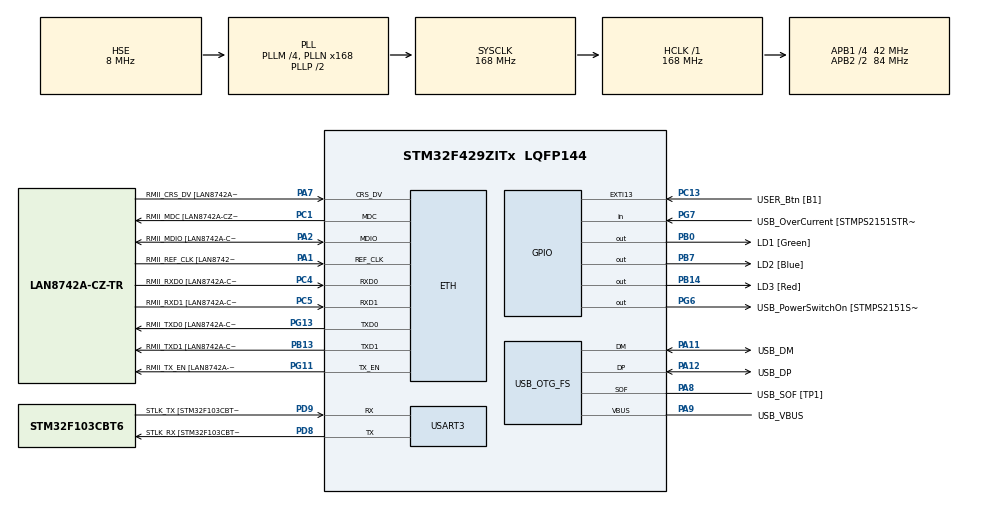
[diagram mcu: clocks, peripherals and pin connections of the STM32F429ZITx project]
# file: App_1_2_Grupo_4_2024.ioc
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ETH.MediaInterface=HAL_ETH_RMII_MODE
ETH.PHY_Name=LAN8742A_PHY_ADDRESS
ETH.PHY_Value=0
ETH.PhyAddress=0
Mcu.Family=STM32F4
Mcu.Name=STM32F429ZITx
Mcu.Package=LQFP144
NVIC.PriorityGroup=NVIC_PRIORITYGROUP_4
PA1.GPIO_Label=RMII_REF_CLK [LAN8742A-CZ-TR_REFCLK0]
PA1.Mode=RMII
PA1.Signal=ETH_REF_CLK
PA10.GPIO_Label=USB_ID
PA10.Signal=USB_OTG_FS_ID
PA11.GPIO_Label=USB_DM
PA11.Mode=Device_Only
PA11.Signal=USB_OTG_FS_DM
PA12.GPIO_Label=USB_DP
PA12.Mode=Device_Only
PA12.Signal=USB_OTG_FS_DP
PA13.GPIO_Label=TMS
PA13.Mode=Serial_Wire
PA13.Signal=SYS_JTMS-SWDIO
PA14.GPIO_Label=TCK
PA14.Mode=Serial_Wire
PA14.Signal=SYS_JTCK-SWCLK
PA2.GPIO_Label=RMII_MDIO [LAN8742A-CZ-TR_MDIO]
PA2.Mode=RMII
PA2.Signal=ETH_MDIO
PA7.GPIO_Label=RMII_CRS_DV [LAN8742A-CZ-TR_CRS_DV]
PA7.Mode=RMII
PA7.Signal=ETH_CRS_DV
PA8.GPIO_Label=USB_SOF [TP1]
PA8.Mode=Activate_SOF_FS
PA8.Signal=USB_OTG_FS_SOF
PA9.GPIO_Label=USB_VBUS
PA9.Mode=Activate_VBUS
PA9.Signal=USB_OTG_FS_VBUS
PB0.GPIO_Label=LD1 [Green]
PB0.Signal=GPIO_Output
PB13.GPIO_Label=RMII_TXD1 [LAN8742A-CZ-TR_TXD1]
PB13.Mode=RMII
PB13.Signal=ETH_TXD1
PB14.GPIO_Label=LD3 [Red]
PB14.Signal=GPIO_Output
PB7.GPIO_Label=LD2 [Blue]
PB7.Signal=GPIO_Output
PC1.GPIO_Label=RMII_MDC [LAN8742A-CZ-TR_MDC]
PC1.Mode=RMII
PC1.Signal=ETH_MDC
PC13.GPIO_Label=USER_Btn [B1]
PC13.Signal=GPXTI13
PC14/OSC32_IN.Mode=LSE-External-Oscillator
PC14/OSC32_IN.Signal=RCC_OSC32_IN
PC15/OSC32_OUT.Mode=LSE-External-Oscillator
PC15/OSC32_OUT.Signal=RCC_OSC32_OUT
PC4.GPIO_Label=RMII_RXD0 [LAN8742A-CZ-TR_RXD0]
PC4.Mode=RMII
PC4.Signal=ETH_RXD0
PC5.GPIO_Label=RMII_RXD1 [LAN8742A-CZ-TR_RXD1]
PC5.Mode=RMII
PC5.Signal=ETH_RXD1
PD8.GPIO_Label=STLK_RX [STM32F103CBT6_PA3]
PD8.Mode=Asynchronous
PD8.Signal=USART3_TX
PD9.GPIO_Label=STLK_TX [STM32F103CBT6_PA2]
PD9.Mode=Asynchronous
PD9.Signal=USART3_RX
PG11.GPIO_Label=RMII_TX_EN [LAN8742A-CZ-TR_TXEN]
PG11.Mode=RMII
PG11.Signal=ETH_TX_EN
PG13.GPIO_Label=RMII_TXD0 [LAN8742A-CZ-TR_TXD0]
PG13.Mode=RMII
PG13.Signal=ETH_TXD0
PG6.GPIO_Label=USB_PowerSwitchOn [STMPS2151STR_EN]
PG6.Signal=GPIO_Output
PG7.GPIO_Label=USB_OverCurrent [STMPS2151STR_FAULT]
PG7.Signal=GPIO_Input
PH0/OSC_IN.GPIO_Label=MCO [STM32F103CBT6_PA8]
PH0/OSC_IN.Mode=HSE-External-Clock-Source
PH0/OSC_IN.Signal=RCC_OSC_IN
PH1/OSC_OUT.Mode=HSE-External-Clock-Source
PH1/OSC_OUT.Signal=RCC_OSC_OUT
ProjectManager.HeapSize=0x200
ProjectManager.StackSize=0x400
ProjectManager.TargetToolchain=STM32CubeIDE
RCC.48MHZClocksFreq_Value=48000000
RCC.AHBFreq_Value=168000000
RCC.APB1CLKDivider=RCC_HCLK_DIV4
RCC.APB1Freq_Value=42000000
RCC.APB1TimFreq_Value=84000000
RCC.APB2CLKDivider=RCC_HCLK_DIV2
RCC.APB2Freq_Value=84000000
RCC.APB2TimCLKDivider=2
RCC.APB2TimFreq_Value=168000000
RCC.CortexFreq_Value=168000000
RCC.HCLKFreq_Value=168000000
RCC.HSE_VALUE=8000000
RCC.HSI_VALUE=16000000
RCC.PLLM=4
RCC.PLLMUL=RCC_PLL_MUL9
RCC.PLLN=168
RCC.PLLQ=7
RCC.PRESCALERUSB=RCC_USBCLKSOURCE_PLL_DIV1_5
RCC.SYSCLKFreq_VALUE=168000000
RCC.SYSCLKSource=RCC_SYSCLKSOURCE_PLLCLK
RCC.SYSCLKSourceVirtual=RCC_SYSCLKSOURCE_PLLCLK
RCC.USBFreq_Value=48000000
RCC.VCOOutputFreq_Value=336000000
USART3.VirtualMode=VM_ASYNC
USB_OTG_FS.VirtualMode=Device_Only
board=NUCLEO-F429ZI

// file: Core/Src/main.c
/* USER CODE BEGIN Header */
/**
  ******************************************************************************
  * @file           : main.c
  * @brief          : Main program body
  ******************************************************************************
  * @attention
  *
  * Copyright (c) 2024 STMicroelectronics.
  * All rights reserved.
  *
  * This software is licensed under terms that can be found in the LICENSE file
  * in the root directory of this software component.
  * If no LICENSE file comes with this software, it is provided AS-IS.
  *
  ******************************************************************************
  */
/* USER CODE END Header */
#include "main.h"
#include "string.h"
#include "API_GPIO.h"

/* USER CODE BEGIN PD */
#define LD1_Pin GPIO_PIN_0
#define LD2_Pin GPIO_PIN_7
#define LD3_Pin GPIO_PIN_14
/* USER CODE END PD */

ETH_TxPacketConfig TxConfig;
ETH_DMADescTypeDef  DMARxDscrTab[ETH_RX_DESC_CNT]; /* Ethernet Rx DMA Descriptors */
ETH_DMADescTypeDef  DMATxDscrTab[ETH_TX_DESC_CNT]; /* Ethernet Tx DMA Descriptors */

ETH_HandleTypeDef heth;

UART_HandleTypeDef huart3;

PCD_HandleTypeDef hpcd_USB_OTG_FS;

void SystemClock_Config(void);
//static void MX_GPIO_Init(void);
static void MX_ETH_Init(void);
static void MX_USART3_UART_Init(void);
static void MX_USB_OTG_FS_PCD_Init(void);

int main(void)
{

  /* USER CODE BEGIN 1 */
	delay_t myDelay ;
	delayInit(&myDelay, 200);

  /* USER CODE END 1 */

  /* MCU Configuration--------------------------------------------------------*/

  /* Reset of all peripherals, Initializes the Flash interface and the Systick. */
  HAL_Init();

  /* USER CODE BEGIN Init */
  uint16_t Led[] = {LD1_Pin , LD2_Pin , LD3_Pin};

  void s1 (void){
  	for (uint8_t i = 0 ; i < 3 ; i++ )
  			{
  			writeLedOn_GPIO(Led[i])	;
  			while (!delayRead(&myDelay)) {
  			            // Esperar 200 ms
  			        }
  			writeLedOff_GPIO(Led[i]);
  			while (!delayRead(&myDelay)) {
  			            // Esperar 200 ms
  			        }
  			}
  }
  void s2 (void){
  	for (uint8_t i = 2 ; i < 3 ; i-- )
  			{
  			writeLedOn_GPIO(Led[i])	;
  			while (!delayRead(&myDelay)) {
  			            // Esperar 200 ms
  			        }
  			writeLedOff_GPIO(Led[i]);
  			while (!delayRead(&myDelay)) {
  			            // Esperar 200 ms
  			        }
  			}
  }
  /* USER CODE END Init */

  /* Configure the system clock */
  SystemClock_Config();

  /* Initialize all configured peripherals */
  MX_GPIO_Init();
  MX_ETH_Init();
  MX_USART3_UART_Init();
  MX_USB_OTG_FS_PCD_Init();

  /* Infinite loop */
  while (1)
  {
	  BOTONCTR();
	  switch(secuenciaActual)
	  	  {
	  	  case 1:
	  		  s1();
	  	  	break;
	  	  case 2:
	  		  s2();
	  	  	break;
	  	  }
  }
}

void SystemClock_Config(void)
{
  RCC_OscInitTypeDef RCC_OscInitStruct = {0};
  RCC_ClkInitTypeDef RCC_ClkInitStruct = {0};

  /** Configure the main internal regulator output voltage
  */
  __HAL_RCC_PWR_CLK_ENABLE();
  __HAL_PWR_VOLTAGESCALING_CONFIG(PWR_REGULATOR_VOLTAGE_SCALE1);

  /** Initializes the RCC Oscillators according to the specified parameters
  * in the RCC_OscInitTypeDef structure.
  */
  RCC_OscInitStruct.OscillatorType = RCC_OSCILLATORTYPE_HSE;
  RCC_OscInitStruct.HSEState = RCC_HSE_BYPASS;
  RCC_OscInitStruct.PLL.PLLState = RCC_PLL_ON;
  RCC_OscInitStruct.PLL.PLLSource = RCC_PLLSOURCE_HSE;
  RCC_OscInitStruct.PLL.PLLM = 4;
  RCC_OscInitStruct.PLL.PLLN = 168;
  RCC_OscInitStruct.PLL.PLLP = RCC_PLLP_DIV2;
  RCC_OscInitStruct.PLL.PLLQ = 7;
  if (HAL_RCC_OscConfig(&RCC_OscInitStruct) != HAL_OK)
  {
    Error_Handler();
  }

  /** Initializes the CPU, AHB and APB buses clocks
  */
  RCC_ClkInitStruct.ClockType = RCC_CLOCKTYPE_HCLK|RCC_CLOCKTYPE_SYSCLK
                              |RCC_CLOCKTYPE_PCLK1|RCC_CLOCKTYPE_PCLK2;
  RCC_ClkInitStruct.SYSCLKSource = RCC_SYSCLKSOURCE_PLLCLK;
  RCC_ClkInitStruct.AHBCLKDivider = RCC_SYSCLK_DIV1;
  RCC_ClkInitStruct.APB1CLKDivider = RCC_HCLK_DIV4;
  RCC_ClkInitStruct.APB2CLKDivider = RCC_HCLK_DIV2;

  if (HAL_RCC_ClockConfig(&RCC_ClkInitStruct, FLASH_LATENCY_5) != HAL_OK)
  {
    Error_Handler();
  }
}

static void MX_ETH_Init(void)
{

   static uint8_t MACAddr[6];

  heth.Instance = ETH;
  MACAddr[0] = 0x00;
  MACAddr[1] = 0x80;
  MACAddr[2] = 0xE1;
  MACAddr[3] = 0x00;
  MACAddr[4] = 0x00;
  MACAddr[5] = 0x00;
  heth.Init.MACAddr = &MACAddr[0];
  heth.Init.MediaInterface = HAL_ETH_RMII_MODE;
  heth.Init.TxDesc = DMATxDscrTab;
  heth.Init.RxDesc = DMARxDscrTab;
  heth.Init.RxBuffLen = 1524;

  if (HAL_ETH_Init(&heth) != HAL_OK)
  {
    Error_Handler();
  }

  memset(&TxConfig, 0 , sizeof(ETH_TxPacketConfig));
  TxConfig.Attributes = ETH_TX_PACKETS_FEATURES_CSUM | ETH_TX_PACKETS_FEATURES_CRCPAD;
  TxConfig.ChecksumCtrl = ETH_CHECKSUM_IPHDR_PAYLOAD_INSERT_PHDR_CALC;
  TxConfig.CRCPadCtrl = ETH_CRC_PAD_INSERT;

}

static void MX_USART3_UART_Init(void)
{

  huart3.Instance = USART3;
  huart3.Init.BaudRate = 115200;
  huart3.Init.WordLength = UART_WORDLENGTH_8B;
  huart3.Init.StopBits = UART_STOPBITS_1;
  huart3.Init.Parity = UART_PARITY_NONE;
  huart3.Init.Mode = UART_MODE_TX_RX;
  huart3.Init.HwFlowCtl = UART_HWCONTROL_NONE;
  huart3.Init.OverSampling = UART_OVERSAMPLING_16;
  if (HAL_UART_Init(&huart3) != HAL_OK)
  {
    Error_Handler();
  }

}

static void MX_USB_OTG_FS_PCD_Init(void)
{

  hpcd_USB_OTG_FS.Instance = USB_OTG_FS;
  hpcd_USB_OTG_FS.Init.dev_endpoints = 4;
  hpcd_USB_OTG_FS.Init.speed = PCD_SPEED_FULL;
  hpcd_USB_OTG_FS.Init.dma_enable = DISABLE;
  hpcd_USB_OTG_FS.Init.phy_itface = PCD_PHY_EMBEDDED;
  hpcd_USB_OTG_FS.Init.Sof_enable = ENABLE;
  hpcd_USB_OTG_FS.Init.low_power_enable = DISABLE;
  hpcd_USB_OTG_FS.Init.lpm_enable = DISABLE;
  hpcd_USB_OTG_FS.Init.vbus_sensing_enable = ENABLE;
  hpcd_USB_OTG_FS.Init.use_dedicated_ep1 = DISABLE;
  if (HAL_PCD_Init(&hpcd_USB_OTG_FS) != HAL_OK)
  {
    Error_Handler();
  }

}

void Error_Handler(void)
{
  __disable_irq();
  while (1)
  {
  }
}
